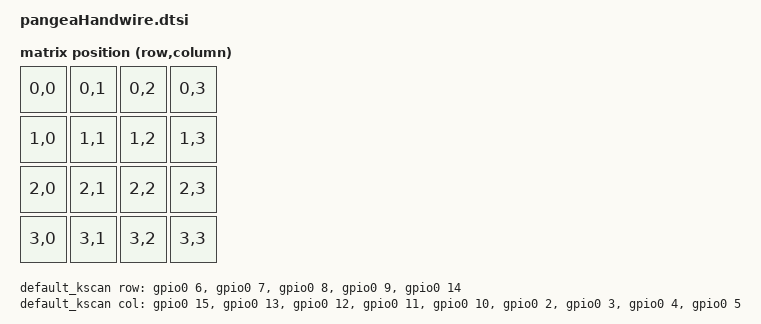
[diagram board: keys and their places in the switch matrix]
#include <dt-bindings/zmk/matrix_transform.h>

/ {
    chosen {
        zmk,kscan = &default_kscan;
        zmk,matrix-transform = &default_transform;
        zmk,physical-layout = &physical_layout0;
    };

    default_kscan: kscan {
        compatible = "zmk,kscan-gpio-matrix";
        label = "default_kscan";
        diode-direction = "col2row";
    
        row-gpios = <&gpio0 6 (GPIO_ACTIVE_HIGH | GPIO_PULL_DOWN)>,
                    <&gpio0 7 (GPIO_ACTIVE_HIGH | GPIO_PULL_DOWN)>,
                    <&gpio0 8 (GPIO_ACTIVE_HIGH | GPIO_PULL_DOWN)>,
                    <&gpio0 9 (GPIO_ACTIVE_HIGH | GPIO_PULL_DOWN)>,
                    <&gpio0 14 (GPIO_ACTIVE_HIGH | GPIO_PULL_DOWN)>;

        col-gpios = <&gpio0 15 GPIO_ACTIVE_HIGH>,
                    <&gpio0 13 GPIO_ACTIVE_HIGH>,
                    <&gpio0 12 GPIO_ACTIVE_HIGH>,
                    <&gpio0 11 GPIO_ACTIVE_HIGH>,
                    <&gpio0 10 GPIO_ACTIVE_HIGH>,
                    <&gpio0 2 GPIO_ACTIVE_HIGH>,
                    <&gpio0 3 GPIO_ACTIVE_HIGH>,
                    <&gpio0 4 GPIO_ACTIVE_HIGH>,
                    <&gpio0 5 GPIO_ACTIVE_HIGH>;
    };

    default_transform: matrix_transform {
        compatible = "zmk,matrix-transform";
        rows = <4>;
        columns = <4>;

        map = <
            // L Body        To add: pinkies, thumbs, right side                           RBody                  
            RC(0,0) RC(0,1) RC(0,2) RC(0,3) 
            RC(1,0) RC(1,1) RC(1,2) RC(1,3)
            RC(2,0) RC(2,1) RC(2,2) RC(2,3)
            RC(3,0) RC(3,1) RC(3,2) RC(3,3)
        >;
    };

    physical_layout0: physical_layout_0 { // First physical layout, use different naming for other layouts
        compatible = "zmk,physical-layout";
        display-name = "Default Layout";
        transform = <&default_transform>; // Label of the matrix transform for this layout
    };

};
